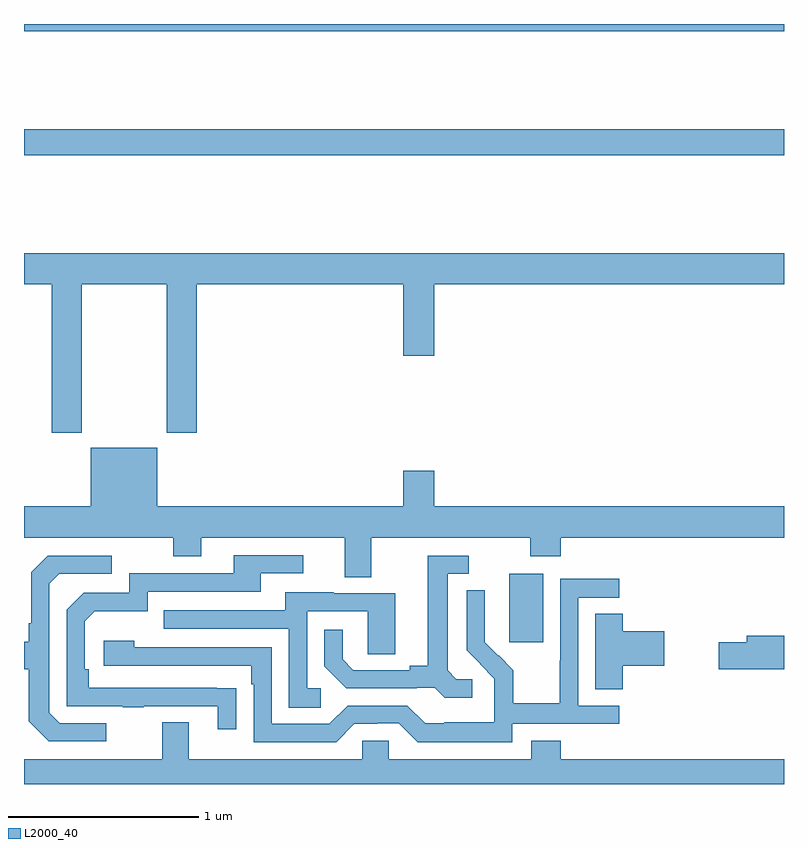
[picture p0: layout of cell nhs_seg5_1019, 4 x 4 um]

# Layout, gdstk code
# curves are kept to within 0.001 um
import gdstk
lib = gdstk.Library(unit=1e-6, precision=1e-09)
def R(c, l, rs):  # rectangles x0, y0, x1, y1
    for r in rs: c.add(gdstk.rectangle(r[:2], r[2:], *l))
def P(c, l, *ps):  # polygons
    for p in ps: c.add(gdstk.Polygon(p, *l))
L2000_40 = (2000, 40)

nhs_seg5_1019 = lib.new_cell('nhs_seg5_1019')
R(nhs_seg5_1019, L2000_40, [(177.554,853.545,177.733,853.906), (175,856.108,179,856.244), (175,856.76,179,856.799)])
P(nhs_seg5_1019, L2000_40, [(175.305,855.428),(175.75,855.428),(175.75,854.649),(175.91,854.649),(175.91,855.428),(176.996,855.428),(176.996,855.054),(177.16,855.054),(177.16,855.428),(179,855.428),(179,855.592),(175,855.592),(175,855.428),(175.145,855.428),(175.145,854.649),(175.305,854.649)],
  [(175.702,854.569),(175.352,854.569),(175.352,854.26),(175,854.26),(175,854.096),(175.786,854.096),(175.786,853.997),(175.933,853.997),(175.933,854.096),(176.687,854.096),(176.687,853.888),(176.827,853.888),(176.827,854.096),(177.664,854.096),(177.664,853.997),(177.824,853.997),(177.824,854.096),(179,854.096),(179,854.26),(177.16,854.26),(177.16,854.449),(176.996,854.449),(176.996,854.26),(175.702,854.26)],
  [(176.117,853.304),(175.34,853.305),(175.34,853.402),(175.32,853.402),(175.32,853.656),(175.373,853.709),(175.65,853.709),(175.65,853.812),(176.245,853.812),(176.245,853.908),(176.47,853.908),(176.47,854.004),(176.105,854.004),(176.105,853.908),(175.554,853.908),(175.554,853.806),(175.314,853.806),(175.224,853.716),(175.224,853.209),(175.519,853.209),(175.519,853.204),(175.631,853.204),(175.631,853.209),(176.021,853.209),(176.021,853.086),(176.117,853.086)],
  [(175.432,853.119),(175.188,853.119),(175.134,853.173),(175.134,853.854),(175.185,853.905),(175.462,853.905),(175.462,854.001),(175.125,854.001),(175.038,853.914),(175.038,853.645),(175.026,853.645),(175.026,853.549),(175,853.549),(175,853.402),(175.026,853.402),(175.026,853.129),(175.131,853.023),(175.432,853.023)],
  [(177.358,853.35),(177.276,853.35),(177.229,853.397),(177.229,853.905),(177.34,853.905),(177.34,854.001),(177.125,854.001),(177.125,853.421),(177.029,853.421),(177.029,853.398),(176.734,853.398),(176.677,853.455),(176.677,853.612),(176.58,853.612),(176.58,853.418),(176.696,853.302),(177.068,853.302),(177.068,853.305),(177.162,853.305),(177.214,853.253),(177.358,853.253)],
  [(177.57,853.116),(178.132,853.116),(178.132,853.212),(177.918,853.212),(177.918,853.779),(178.132,853.779),(178.132,853.878),(177.822,853.878),(177.822,853.448),(177.82,853.448),(177.82,853.225),(177.575,853.225),(177.575,853.399),(177.498,853.476),(177.495,853.473),(177.425,853.544),(177.426,853.82),(177.33,853.82),(177.33,853.502),(177.476,853.354),(177.476,853.257),(177.474,853.257),(177.474,853.123),(177.211,853.123),(177.211,853.119),(177.111,853.119),(177.018,853.212),(176.703,853.212),(176.607,853.116),(176.304,853.116),(176.304,853.518),(175.58,853.518),(175.58,853.552),(175.419,853.552),(175.419,853.422),(176.195,853.422),(176.195,853.325),(176.208,853.325),(176.208,853.02),(176.643,853.02),(176.739,853.116),(176.858,853.116),(176.858,853.119),(176.973,853.119),(177.073,853.019),(177.57,853.019)],
  [(176.563,853.302),(176.49,853.302),(176.49,853.707),(176.808,853.707),(176.808,853.483),(176.953,853.483),(176.953,853.803),(176.629,853.803),(176.629,853.807),(176.375,853.807),(176.375,853.713),(175.735,853.713),(175.735,853.617),(176.394,853.617),(176.394,853.201),(176.563,853.201)],
  [(178.151,853.421),(178.369,853.421),(178.369,853.604),(178.151,853.604),(178.151,853.694),(178.007,853.694),(178.007,853.297),(178.151,853.297)],
  [(179,853.58),(178.805,853.58),(178.805,853.544),(178.656,853.544),(178.656,853.402),(179,853.402)],
  [(179,852.928),(177.824,852.928),(177.824,853.027),(177.671,853.027),(177.671,852.928),(176.919,852.928),(176.919,853.026),(176.781,853.026),(176.781,852.928),(175.867,852.928),(175.867,853.123),(175.727,853.123),(175.727,852.928),(175,852.928),(175,852.799),(179,852.799)])

lib.write_gds('nhs_seg5_1019.gds')
